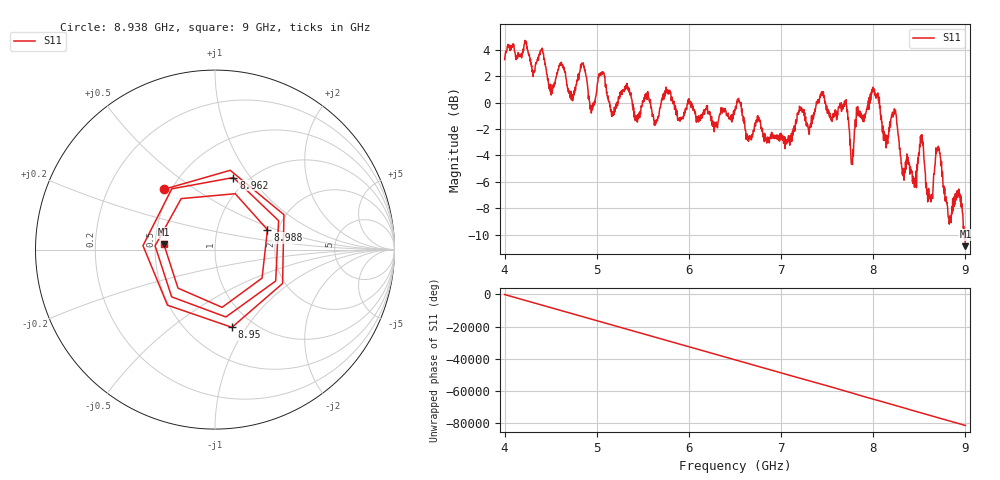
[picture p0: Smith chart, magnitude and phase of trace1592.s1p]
! Created with skrf 1.8.0 (http://scikit-rf.org).
# Hz S RI R 50.0
!freq ReS11 ImS11
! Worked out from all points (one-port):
!   1601 points, 4 GHz to 9 GHz, reference 50 ohm
!   lowest |S11| = -10.9 dB at 9 GHz (marker M1), VSWR 1.80, Z = 27.8 + j1.76 ohm
!   |S11| at or under -10 dB: 8.987192 GHz to 8.992663 GHz (5.471 MHz wide, 0.0609 % of centre); 8.994877 GHz to end of sweep
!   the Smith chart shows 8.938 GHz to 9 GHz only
!   S11 on the Smith chart (normalised r, x): 8.938 GHz: 0.46, +0.38; 8.95 GHz: 0.80, -0.86; 8.962 GHz: 0.86, +0.83; 8.988 GHz: 1.76, +0.43; 9 GHz: 0.56, +0.04
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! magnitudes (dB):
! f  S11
! 4 GHz  3.3
! 4.4 GHz  3.9
! 4.506 GHz  0.6
! 4.625 GHz  2.8
! 4.728 GHz  0.4
! 4.85 GHz  2.9
! 4.947 GHz  -0.4
! 5.05 GHz  2.1
! 5.169 GHz  -0.7
! 5.25 GHz  0.6
! 5.875 GHz  -1.1
! 6.5 GHz  -0.5
! 7.125 GHz  -2.2
! 7.444 GHz  0.5
! 7.697 GHz  0.1
! 7.75 GHz  -2.8
! 8 GHz  1.0
! 8.375 GHz  -4.1
! 8.447 GHz  -6.4
! 8.525 GHz  -3.1
! 8.616 GHz  -7.2
! 8.706 GHz  -3.3
! 8.828 GHz  -8.9
! 8.938 GHz  -7.1
! 8.95 GHz  -7.1
! 8.962 GHz  -7.7
! 8.988 GHz  -10.1
! 9 GHz  -10.9
